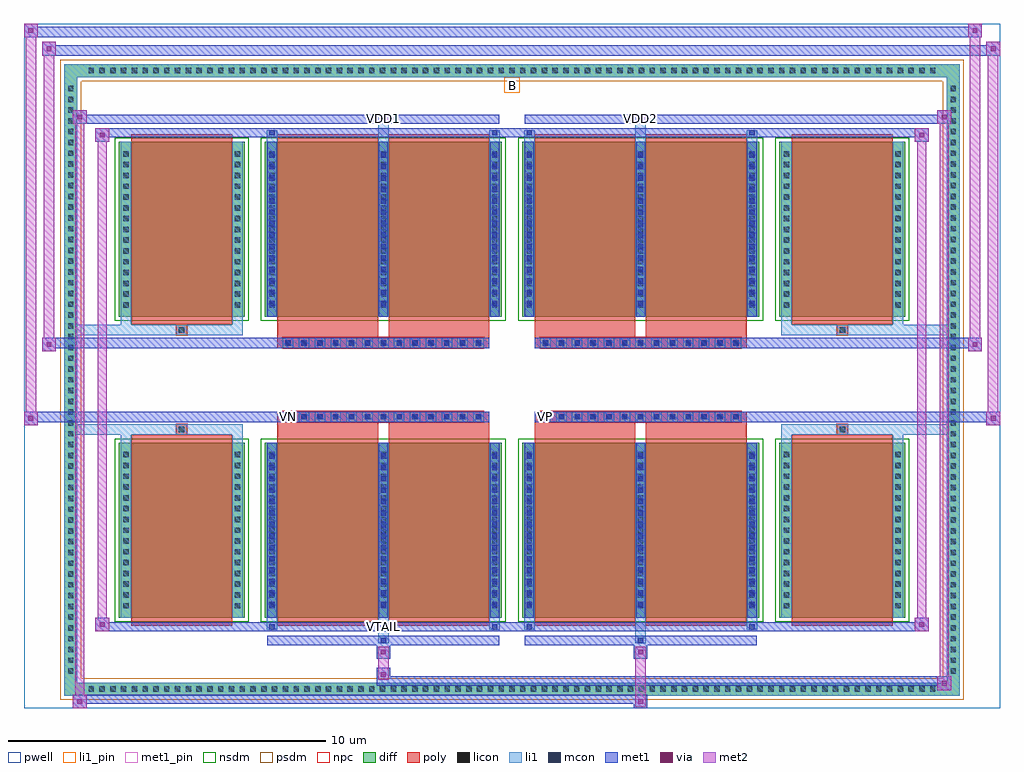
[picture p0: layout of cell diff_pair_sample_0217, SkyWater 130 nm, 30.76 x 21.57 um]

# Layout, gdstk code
import gdstk
lib = gdstk.Library(unit=1e-6, precision=5e-09)
def R(c, l, rs):  # rectangles x0, y0, x1, y1
    for r in rs: c.add(gdstk.rectangle(r[:2], r[2:], *l))
def A(c, l, x, y, w, h, nx, ny, dx, dy):  # array of equal rectangles
    R(c, l, [(x+i*dx, y+j*dy, x+i*dx+w, y+j*dy+h) for i in range(nx) for j in range(ny)])
def P(c, l, *ps):  # polygons
    for p in ps: c.add(gdstk.Polygon(p, *l))
pwell = (64, 44)
diff = (65, 20)
poly = (66, 20)
licon = (66, 44)
li1_pin = (67, 16)
li1 = (67, 20)
mcon = (67, 44)
met1_pin = (68, 16)
met1 = (68, 20)
via = (68, 44)
met2 = (69, 20)
nsdm = (93, 44)
psdm = (94, 20)
npc = (95, 20)

diff_pair_sample_0217 = lib.new_cell('diff_pair_sample_0217')
R(diff_pair_sample_0217, pwell, [(-15.38,-10.35,15.38,11.22), (-12.7,-8.54,-0.01,-0.8), (0.01,-8.54,12.7,-0.8), (-12.7,0.8,-0.01,8.54), (0.01,0.8,12.7,8.54)])
A(diff_pair_sample_0217, diff, -13.465, -9.95, 0.41, 0.41, 79, 2, 0.34, 19.49)
A(diff_pair_sample_0217, diff, -14.11, -9.385, 0.41, 0.41, 1, 55, 0, 0.34)
A(diff_pair_sample_0217, diff, 13.7, -9.385, 0.41, 0.41, 1, 55, 0, 0.34)
R(diff_pair_sample_0217, diff, [(-13.465,-9.95,13.465,-9.54), (-14.11,-9.385,-13.7,9.385), (13.7,-9.385,14.11,9.385), (-12.39,-7.495,-8.43,-1.985), (-7.79,-7.495,-0.32,-1.985), (0.32,-7.495,7.79,-1.985), (8.43,-7.495,12.39,-1.985), (-12.39,1.985,-8.43,7.495), (-7.79,1.985,-0.32,7.495), (0.32,1.985,7.79,7.495), (8.43,1.985,12.39,7.495), (-13.465,9.54,13.465,9.95)])
P(diff_pair_sample_0217, diff, [(14.11,9.95),(-14.11,9.95),(-14.11,-9.54),(-13.7,-9.54),(-13.7,9.54),(13.7,9.54),(13.7,-9.54),(-13.7,-9.54),(-14.11,-9.54),(-14.11,-9.95),(14.11,-9.95)])
A(diff_pair_sample_0217, poly, -7.22, -1.33, 0.33, 0.33, 13, 2, 0.5, 2.33)
A(diff_pair_sample_0217, poly, 0.89, -1.33, 0.33, 0.33, 13, 2, 0.5, 2.33)
R(diff_pair_sample_0217, poly, [(-12,-7.745,-8.82,-1.735), (-7.4,-7.745,-4.22,-1.735), (-3.89,-7.745,-0.71,-1.735), (0.71,-7.745,3.89,-1.735), (4.22,-7.745,7.4,-1.735), (8.82,-7.745,12,-1.735), (-10.575,-1.735,-10.245,-1.405), (-10.575,-1.735,-10.245,-1.405), (-7.4,-1.735,-4.22,-1.33), (-3.89,-1.735,-0.71,-1.33), (0.71,-1.735,3.89,-1.33), (4.22,-1.735,7.4,-1.33), (10.245,-1.735,10.575,-1.405), (10.245,-1.735,10.575,-1.405), (-7.4,-1.33,-0.71,-1), (0.71,-1.33,7.4,-1), (-7.4,1,-0.71,1.33), (0.71,1,7.4,1.33), (-7.4,1.33,-4.22,1.735), (-3.89,1.33,-0.71,1.735), (0.71,1.33,3.89,1.735), (4.22,1.33,7.4,1.735), (-10.575,1.405,-10.245,1.735), (-10.575,1.405,-10.245,1.735), (10.245,1.405,10.575,1.735), (10.245,1.405,10.575,1.735), (-12,1.735,-8.82,7.745), (-7.4,1.735,-4.22,7.745), (-3.89,1.735,-0.71,7.745), (0.71,1.735,3.89,7.745), (4.22,1.735,7.4,7.745), (8.82,1.735,12,7.745)])
A(diff_pair_sample_0217, licon, -13.345, -9.83, 0.17, 0.17, 79, 2, 0.34, 19.49)
A(diff_pair_sample_0217, licon, -13.99, -9.265, 0.17, 0.17, 1, 55, 0, 0.34)
A(diff_pair_sample_0217, licon, 13.82, -9.265, 0.17, 0.17, 1, 55, 0, 0.34)
A(diff_pair_sample_0217, licon, -12.25, -7.205, 0.17, 0.17, 1, 15, 0, 0.34)
A(diff_pair_sample_0217, licon, -8.74, -7.205, 0.17, 0.17, 1, 15, 0, 0.34)
A(diff_pair_sample_0217, licon, -7.65, -7.205, 0.17, 0.17, 3, 15, 3.51, 0.34)
A(diff_pair_sample_0217, licon, 0.46, -7.205, 0.17, 0.17, 3, 15, 3.51, 0.34)
A(diff_pair_sample_0217, licon, 8.57, -7.205, 0.17, 0.17, 1, 15, 0, 0.34)
A(diff_pair_sample_0217, licon, 12.08, -7.205, 0.17, 0.17, 1, 15, 0, 0.34)
A(diff_pair_sample_0217, licon, -7.14, -1.25, 0.17, 0.17, 13, 2, 0.5, 2.33)
A(diff_pair_sample_0217, licon, 0.97, -1.25, 0.17, 0.17, 13, 2, 0.5, 2.33)
A(diff_pair_sample_0217, licon, -12.25, 2.275, 0.17, 0.17, 1, 15, 0, 0.34)
A(diff_pair_sample_0217, licon, -8.74, 2.275, 0.17, 0.17, 1, 15, 0, 0.34)
A(diff_pair_sample_0217, licon, -7.65, 2.275, 0.17, 0.17, 3, 15, 3.51, 0.34)
A(diff_pair_sample_0217, licon, 0.46, 2.275, 0.17, 0.17, 3, 15, 3.51, 0.34)
A(diff_pair_sample_0217, licon, 8.57, 2.275, 0.17, 0.17, 1, 15, 0, 0.34)
A(diff_pair_sample_0217, licon, 12.08, 2.275, 0.17, 0.17, 1, 15, 0, 0.34)
R(diff_pair_sample_0217, licon, [(-10.495,-1.655,-10.325,-1.485), (10.325,-1.655,10.495,-1.485), (-10.495,1.485,-10.325,1.655), (10.325,1.485,10.495,1.655)])
R(diff_pair_sample_0217, li1_pin, [(-0.25,9.04,0.25,9.54)])
A(diff_pair_sample_0217, li1, -13.425, -9.91, 0.33, 0.33, 79, 2, 0.34, 19.49)
A(diff_pair_sample_0217, li1, -14.07, -9.345, 0.33, 0.33, 1, 55, 0, 0.34)
A(diff_pair_sample_0217, li1, 13.74, -9.345, 0.33, 0.33, 1, 55, 0, 0.34)
A(diff_pair_sample_0217, li1, -7.73, -7.495, 0.33, 5.51, 3, 2, 3.51, 9.48)
A(diff_pair_sample_0217, li1, 0.38, -7.495, 0.33, 5.51, 3, 2, 3.51, 9.48)
A(diff_pair_sample_0217, li1, -12.33, -7.285, 0.33, 0.33, 1, 15, 0, 0.34)
A(diff_pair_sample_0217, li1, -8.82, -7.285, 0.33, 0.33, 1, 15, 0, 0.34)
A(diff_pair_sample_0217, li1, -7.73, -7.285, 0.33, 0.33, 3, 15, 3.51, 0.34)
A(diff_pair_sample_0217, li1, 0.38, -7.285, 0.33, 0.33, 3, 15, 3.51, 0.34)
A(diff_pair_sample_0217, li1, 8.49, -7.285, 0.33, 0.33, 1, 15, 0, 0.34)
A(diff_pair_sample_0217, li1, 12, -7.285, 0.33, 0.33, 1, 15, 0, 0.34)
A(diff_pair_sample_0217, li1, -7.65, -7.165, 0.17, 0.17, 3, 14, 3.51, 0.36)
A(diff_pair_sample_0217, li1, -7.65, -7.165, 0.17, 4.85, 3, 2, 3.51, 9.48)
A(diff_pair_sample_0217, li1, 0.46, -7.165, 0.17, 0.17, 3, 14, 3.51, 0.36)
A(diff_pair_sample_0217, li1, 0.46, -7.165, 0.17, 4.85, 3, 2, 3.51, 9.48)
A(diff_pair_sample_0217, li1, -7.22, -1.33, 0.33, 0.33, 13, 2, 0.5, 2.33)
A(diff_pair_sample_0217, li1, 0.89, -1.33, 0.33, 0.33, 13, 2, 0.5, 2.33)
A(diff_pair_sample_0217, li1, -12.33, 2.195, 0.33, 0.33, 1, 15, 0, 0.34)
A(diff_pair_sample_0217, li1, -8.82, 2.195, 0.33, 0.33, 1, 15, 0, 0.34)
A(diff_pair_sample_0217, li1, -7.73, 2.195, 0.33, 0.33, 3, 15, 3.51, 0.34)
A(diff_pair_sample_0217, li1, 0.38, 2.195, 0.33, 0.33, 3, 15, 3.51, 0.34)
A(diff_pair_sample_0217, li1, 8.49, 2.195, 0.33, 0.33, 1, 15, 0, 0.34)
A(diff_pair_sample_0217, li1, 12, 2.195, 0.33, 0.33, 1, 15, 0, 0.34)
A(diff_pair_sample_0217, li1, -7.65, 2.315, 0.17, 0.17, 3, 14, 3.51, 0.36)
A(diff_pair_sample_0217, li1, 0.46, 2.315, 0.17, 0.17, 3, 14, 3.51, 0.36)
R(diff_pair_sample_0217, li1, [(-14.11,-9.95,-13.7,-9.54), (-14.11,-9.95,-13.7,-9.54), (-13.7,-9.95,13.7,-9.54), (13.7,-9.95,14.11,-9.54), (13.7,-9.95,14.11,-9.54), (-14.11,-9.54,-13.7,9.54), (13.7,-9.54,14.11,9.54), (-4.22,-8.3,-3.89,-7.495), (-4.14,-8.3,-3.97,-8.13), (3.89,-8.3,4.22,-7.495), (3.97,-8.3,4.14,-8.13), (-7.73,-7.87,-7.4,-7.495), (-7.65,-7.87,-7.48,-7.7), (-0.71,-7.87,-0.38,-7.495), (-0.63,-7.87,-0.46,-7.7), (0.38,-7.87,0.71,-7.495), (0.46,-7.87,0.63,-7.7), (7.4,-7.87,7.73,-7.495), (7.48,-7.87,7.65,-7.7), (-12.33,-7.495,-12,-1.985), (-8.82,-7.495,-8.49,-1.985), (8.49,-7.495,8.82,-1.985), (12,-7.495,12.33,-1.985), (-12.33,-1.985,-12,-1.405), (-8.82,-1.985,-8.49,-1.405), (8.49,-1.985,8.82,-1.405), (12,-1.985,12.33,-1.405), (-14.11,-1.735,-10.575,-1.405), (-12.33,-1.735,-10.575,-1.405), (-10.575,-1.735,-10.245,-1.405), (-10.245,-1.735,-8.49,-1.405), (8.49,-1.735,10.245,-1.405), (10.245,-1.735,10.575,-1.405), (10.245,-1.735,14.11,-1.405), (10.575,-1.735,12.33,-1.405), (-14.11,1.405,-10.575,1.735), (-12.33,1.405,-10.575,1.735), (-12.33,1.405,-12,1.985), (-10.575,1.405,-10.245,1.735), (-10.245,1.405,-8.49,1.735), (-8.82,1.405,-8.49,1.985), (8.49,1.405,10.245,1.735), (8.49,1.405,8.82,1.985), (10.245,1.405,10.575,1.735), (10.245,1.405,14.11,1.735), (10.575,1.405,12.33,1.735), (12,1.405,12.33,1.985), (-12.33,1.985,-12,7.495), (-8.82,1.985,-8.49,7.495), (8.49,1.985,8.82,7.495), (12,1.985,12.33,7.495), (-7.73,7.495,-7.4,7.87), (-4.22,7.495,-3.89,8.3), (-0.71,7.495,-0.38,7.87), (0.38,7.495,0.71,7.87), (3.89,7.495,4.22,8.3), (7.4,7.495,7.73,7.87), (-7.65,7.7,-7.48,7.87), (-0.63,7.7,-0.46,7.87), (0.46,7.7,0.63,7.87), (7.48,7.7,7.65,7.87), (-4.14,8.13,-3.97,8.3), (3.97,8.13,4.14,8.3), (-14.11,9.54,-13.7,9.95), (-14.11,9.54,-13.7,9.95), (-13.7,9.54,13.7,9.95), (13.7,9.54,14.11,9.95), (13.7,9.54,14.11,9.95)])
A(diff_pair_sample_0217, mcon, -7.65, -7.165, 0.17, 0.17, 3, 14, 3.51, 0.36)
A(diff_pair_sample_0217, mcon, 0.46, -7.165, 0.17, 0.17, 3, 14, 3.51, 0.36)
A(diff_pair_sample_0217, mcon, -7.14, -1.25, 0.17, 0.17, 13, 2, 0.5, 2.33)
A(diff_pair_sample_0217, mcon, 0.97, -1.25, 0.17, 0.17, 13, 2, 0.5, 2.33)
A(diff_pair_sample_0217, mcon, -7.65, 2.315, 0.17, 0.17, 3, 14, 3.51, 0.36)
A(diff_pair_sample_0217, mcon, 0.46, 2.315, 0.17, 0.17, 3, 14, 3.51, 0.36)
R(diff_pair_sample_0217, mcon, [(-4.14,-8.3,-3.97,-8.13), (3.97,-8.3,4.14,-8.13), (-7.65,-7.87,-7.48,-7.7), (-0.63,-7.87,-0.46,-7.7), (0.46,-7.87,0.63,-7.7), (7.48,-7.87,7.65,-7.7), (-7.65,7.7,-7.48,7.87), (-0.63,7.7,-0.46,7.87), (0.46,7.7,0.63,7.87), (7.48,7.7,7.65,7.87), (-4.14,8.13,-3.97,8.3), (3.97,8.13,4.14,8.3)])
R(diff_pair_sample_0217, met1_pin, [(-4.19,-7.91,-3.92,-7.64), (-7.19,-1.29,-6.92,-1.02), (0.92,-1.29,1.19,-1.02), (-4.19,8.09,-3.92,8.36), (3.92,8.09,4.19,8.36)])
A(diff_pair_sample_0217, met1, -7.71, -7.495, 0.29, 5.51, 3, 2, 3.51, 9.48)
A(diff_pair_sample_0217, met1, 0.4, -7.495, 0.29, 5.51, 3, 2, 3.51, 9.48)
A(diff_pair_sample_0217, met1, -7.71, -7.225, 0.29, 0.29, 3, 14, 3.51, 0.36)
A(diff_pair_sample_0217, met1, 0.4, -7.225, 0.29, 0.29, 3, 14, 3.51, 0.36)
A(diff_pair_sample_0217, met1, -7.2, -1.31, 0.29, 0.29, 13, 2, 0.5, 2.33)
A(diff_pair_sample_0217, met1, 0.91, -1.31, 0.29, 0.29, 13, 2, 0.5, 2.33)
A(diff_pair_sample_0217, met1, -7.71, 2.255, 0.29, 0.29, 3, 14, 3.51, 0.36)
A(diff_pair_sample_0217, met1, 0.4, 2.255, 0.29, 0.29, 3, 14, 3.51, 0.36)
R(diff_pair_sample_0217, met1, [(-13.84,-10.35,-13.41,-9.92), (3.84,-10.35,4.27,-9.92), (-13.84,-10.21,4.27,-9.92), (13.41,-9.78,13.84,-9.35), (-4.27,-9.64,13.84,-9.35), (-4.27,-9.5,-3.84,-9.07), (-4.27,-8.79,-3.84,-8.36), (3.84,-8.79,4.27,-8.36), (-7.71,-8.36,-0.4,-8.07), (-4.2,-8.36,-3.91,-8.07), (0.4,-8.36,7.71,-8.07), (3.91,-8.36,4.2,-8.07), (-13.13,-7.93,-12.7,-7.5), (-13.13,-7.93,-7.71,-7.64), (-7.71,-7.93,-7.42,-7.64), (-7.71,-7.93,-0.4,-7.64), (-0.69,-7.93,-0.4,-7.64), (-0.4,-7.93,0.4,-7.64), (0.4,-7.93,0.69,-7.64), (0.4,-7.93,7.71,-7.64), (7.42,-7.93,7.71,-7.64), (7.71,-7.93,13.13,-7.64), (12.7,-7.93,13.13,-7.5), (-15.38,-1.43,-14.95,-1), (14.95,-1.43,15.38,-1), (-15.38,-1.33,-0.71,-1), (-7.4,-1.33,-0.71,-1), (0.71,-1.33,7.4,-1), (0.71,-1.33,15.38,-1), (-14.81,0.9,-14.38,1.33), (14.38,0.9,14.81,1.33), (-14.81,1,-7.4,1.33), (-7.4,1,-0.71,1.33), (0.71,1,7.4,1.33), (7.4,1,14.81,1.33), (-13.13,7.5,-12.7,7.93), (12.7,7.5,13.13,7.93), (-13.13,7.64,-7.71,7.93), (-7.71,7.64,-7.42,7.93), (-7.71,7.64,-0.4,7.93), (-0.69,7.64,-0.4,7.93), (-0.4,7.64,0.4,7.93), (0.4,7.64,0.69,7.93), (0.4,7.64,7.71,7.93), (7.42,7.64,7.71,7.93), (7.71,7.64,13.13,7.93), (-13.84,8.07,-13.41,8.5), (-13.84,8.07,-7.71,8.36), (-7.71,8.07,-0.4,8.36), (-4.2,8.07,-3.91,8.36), (0.4,8.07,7.71,8.36), (3.91,8.07,4.2,8.36), (7.71,8.07,13.84,8.36), (13.41,8.07,13.84,8.5), (-14.81,10.22,-14.38,10.65), (-14.81,10.22,-12.7,10.55), (-12.7,10.22,12.7,10.55), (12.7,10.22,15.38,10.55), (14.95,10.22,15.38,10.65), (-15.38,10.79,-14.95,11.22), (-15.38,10.79,-12.7,11.12), (-12.7,10.79,12.7,11.12), (12.7,10.79,14.81,11.12), (14.38,10.79,14.81,11.22)])
R(diff_pair_sample_0217, via, [(-13.7,-10.21,-13.55,-10.06), (3.98,-10.21,4.13,-10.06), (13.55,-9.64,13.7,-9.49), (-4.13,-9.36,-3.98,-9.21), (-4.13,-8.65,-3.98,-8.5), (3.98,-8.65,4.13,-8.5), (-12.99,-7.79,-12.84,-7.64), (12.84,-7.79,12.99,-7.64), (-15.24,-1.29,-15.09,-1.14), (15.09,-1.29,15.24,-1.14), (-14.67,1.04,-14.52,1.19), (14.52,1.04,14.67,1.19), (-12.99,7.64,-12.84,7.79), (12.84,7.64,12.99,7.79), (-13.7,8.21,-13.55,8.36), (13.55,8.21,13.7,8.36), (-14.67,10.36,-14.52,10.51), (15.09,10.36,15.24,10.51), (-15.24,10.93,-15.09,11.08), (14.52,10.93,14.67,11.08)])
R(diff_pair_sample_0217, met2, [(-13.84,-10.35,-13.41,-9.92), (-13.77,-10.35,-13.48,8.5), (-13.48,-10.35,-13.41,-9.92), (-13.79,-10.3,-13.46,-9.97), (3.89,-10.3,4.22,-9.97), (3.89,-9.97,4.22,-8.74), (13.41,-9.78,13.84,-9.35), (13.48,-9.78,13.77,8.5), (13.77,-9.78,13.84,-9.35), (13.46,-9.73,13.79,-9.4), (-4.22,-9.45,-3.89,-9.12), (-4.22,-9.12,-3.89,-8.74), (-4.22,-8.74,-3.89,-8.41), (3.89,-8.74,4.22,-8.41), (-13.13,-7.93,-12.7,-7.5), (-13.06,-7.93,-12.77,7.93), (-12.77,-7.93,-12.7,-7.5), (12.7,-7.93,13.13,-7.5), (12.77,-7.93,13.06,7.93), (13.06,-7.93,13.13,-7.5), (-13.08,-7.88,-12.75,-7.55), (12.75,-7.88,13.08,-7.55), (-15.38,-1.43,-14.95,-1), (-15.33,-1.43,-15,11.22), (-15,-1.43,-14.95,-1), (14.95,-1.43,15.38,-1), (15,-1.43,15.33,10.65), (15.33,-1.43,15.38,-1), (-15.33,-1.38,-15,-1.05), (15,-1.38,15.33,-1.05), (-14.81,0.9,-14.38,1.33), (-14.76,0.9,-14.43,10.65), (-14.43,0.9,-14.38,1.33), (14.38,0.9,14.81,1.33), (14.43,0.9,14.76,11.22), (14.76,0.9,14.81,1.33), (-14.76,0.95,-14.43,1.28), (14.43,0.95,14.76,1.28), (-13.13,7.5,-12.7,7.93), (-12.77,7.5,-12.7,7.93), (12.7,7.5,13.13,7.93), (13.06,7.5,13.13,7.93), (-13.08,7.55,-12.75,7.88), (12.75,7.55,13.08,7.88), (-13.84,8.07,-13.41,8.5), (-13.48,8.07,-13.41,8.5), (13.41,8.07,13.84,8.5), (13.77,8.07,13.84,8.5), (-13.79,8.12,-13.46,8.45), (13.46,8.12,13.79,8.45), (-14.81,10.22,-14.38,10.65), (-14.43,10.22,-14.38,10.65), (14.95,10.22,15.38,10.65), (15.33,10.22,15.38,10.65), (-14.76,10.27,-14.43,10.6), (15,10.27,15.33,10.6), (-15.38,10.79,-14.95,11.22), (-15,10.79,-14.95,11.22), (14.38,10.79,14.81,11.22), (14.76,10.79,14.81,11.22), (-15.33,10.84,-15,11.17), (14.43,10.84,14.76,11.17)])
R(diff_pair_sample_0217, nsdm, [(-12.52,-7.625,-8.3,-1.855), (-7.92,-7.625,-0.19,-1.855), (0.19,-7.625,7.92,-1.855), (8.3,-7.625,12.52,-1.855), (-12.52,1.855,-8.3,7.625), (-7.92,1.855,-0.19,7.625), (0.19,1.855,7.92,7.625), (8.3,1.855,12.52,7.625)])
P(diff_pair_sample_0217, psdm, [(14.24,10.08),(-14.24,10.08),(-14.24,-9.41),(-13.57,-9.41),(-13.57,9.41),(13.57,9.41),(13.57,-9.41),(-13.57,-9.41),(-14.24,-9.41),(-14.24,-10.08),(14.24,-10.08)])
A(diff_pair_sample_0217, npc, -7.24, -1.35, 0.37, 0.37, 13, 2, 0.5, 2.33)
A(diff_pair_sample_0217, npc, 0.87, -1.35, 0.37, 0.37, 13, 2, 0.5, 2.33)
R(diff_pair_sample_0217, npc, [(-10.595,-1.755,-10.225,-1.385), (10.225,-1.755,10.595,-1.385), (-7.24,-1.35,-6.37,-0.98), (-7.24,-1.35,-6.37,-0.98), (-6.74,-1.35,-5.87,-0.98), (-6.74,-1.35,-5.87,-0.98), (-6.24,-1.35,-5.37,-0.98), (-6.24,-1.35,-5.37,-0.98), (-5.74,-1.35,-4.87,-0.98), (-5.74,-1.35,-4.87,-0.98), (-5.24,-1.35,-4.37,-0.98), (-5.24,-1.35,-4.37,-0.98), (-4.74,-1.35,-3.87,-0.98), (-4.74,-1.35,-3.87,-0.98), (-4.24,-1.35,-3.37,-0.98), (-4.24,-1.35,-3.37,-0.98), (-3.74,-1.35,-2.87,-0.98), (-3.74,-1.35,-2.87,-0.98), (-3.24,-1.35,-2.37,-0.98), (-3.24,-1.35,-2.37,-0.98), (-2.74,-1.35,-1.87,-0.98), (-2.74,-1.35,-1.87,-0.98), (-2.24,-1.35,-1.37,-0.98), (-2.24,-1.35,-1.37,-0.98), (-1.74,-1.35,-0.87,-0.98), (-1.74,-1.35,-0.87,-0.98), (0.87,-1.35,1.74,-0.98), (0.87,-1.35,1.74,-0.98), (1.37,-1.35,2.24,-0.98), (1.37,-1.35,2.24,-0.98), (1.87,-1.35,2.74,-0.98), (1.87,-1.35,2.74,-0.98), (2.37,-1.35,3.24,-0.98), (2.37,-1.35,3.24,-0.98), (2.87,-1.35,3.74,-0.98), (2.87,-1.35,3.74,-0.98), (3.37,-1.35,4.24,-0.98), (3.37,-1.35,4.24,-0.98), (3.87,-1.35,4.74,-0.98), (3.87,-1.35,4.74,-0.98), (4.37,-1.35,5.24,-0.98), (4.37,-1.35,5.24,-0.98), (4.87,-1.35,5.74,-0.98), (4.87,-1.35,5.74,-0.98), (5.37,-1.35,6.24,-0.98), (5.37,-1.35,6.24,-0.98), (5.87,-1.35,6.74,-0.98), (5.87,-1.35,6.74,-0.98), (6.37,-1.35,7.24,-0.98), (6.37,-1.35,7.24,-0.98), (-7.24,0.98,-6.37,1.35), (-7.24,0.98,-6.37,1.35), (-6.74,0.98,-5.87,1.35), (-6.74,0.98,-5.87,1.35), (-6.24,0.98,-5.37,1.35), (-6.24,0.98,-5.37,1.35), (-5.74,0.98,-4.87,1.35), (-5.74,0.98,-4.87,1.35), (-5.24,0.98,-4.37,1.35), (-5.24,0.98,-4.37,1.35), (-4.74,0.98,-3.87,1.35), (-4.74,0.98,-3.87,1.35), (-4.24,0.98,-3.37,1.35), (-4.24,0.98,-3.37,1.35), (-3.74,0.98,-2.87,1.35), (-3.74,0.98,-2.87,1.35), (-3.24,0.98,-2.37,1.35), (-3.24,0.98,-2.37,1.35), (-2.74,0.98,-1.87,1.35), (-2.74,0.98,-1.87,1.35), (-2.24,0.98,-1.37,1.35), (-2.24,0.98,-1.37,1.35), (-1.74,0.98,-0.87,1.35), (-1.74,0.98,-0.87,1.35), (0.87,0.98,1.74,1.35), (0.87,0.98,1.74,1.35), (1.37,0.98,2.24,1.35), (1.37,0.98,2.24,1.35), (1.87,0.98,2.74,1.35), (1.87,0.98,2.74,1.35), (2.37,0.98,3.24,1.35), (2.37,0.98,3.24,1.35), (2.87,0.98,3.74,1.35), (2.87,0.98,3.74,1.35), (3.37,0.98,4.24,1.35), (3.37,0.98,4.24,1.35), (3.87,0.98,4.74,1.35), (3.87,0.98,4.74,1.35), (4.37,0.98,5.24,1.35), (4.37,0.98,5.24,1.35), (4.87,0.98,5.74,1.35), (4.87,0.98,5.74,1.35), (5.37,0.98,6.24,1.35), (5.37,0.98,6.24,1.35), (5.87,0.98,6.74,1.35), (5.87,0.98,6.74,1.35), (6.37,0.98,7.24,1.35), (6.37,0.98,7.24,1.35), (-10.595,1.385,-10.225,1.755), (10.225,1.385,10.595,1.755)])
diff_pair_sample_0217.add(gdstk.Label('VTAIL', (-4.055,-7.775), layer=68, texttype=5))
diff_pair_sample_0217.add(gdstk.Label('VN', (-7.055,-1.155), layer=68, texttype=5))
diff_pair_sample_0217.add(gdstk.Label('VP', (1.055,-1.155), layer=68, texttype=5))
diff_pair_sample_0217.add(gdstk.Label('B', (0,9.29), layer=67, texttype=5))
diff_pair_sample_0217.add(gdstk.Label('VDD2', (4.055,8.225), layer=68, texttype=5))
diff_pair_sample_0217.add(gdstk.Label('VDD1', (-4.055,8.225), layer=68, texttype=5))

lib.write_gds('diff_pair_sample_0217.gds')
